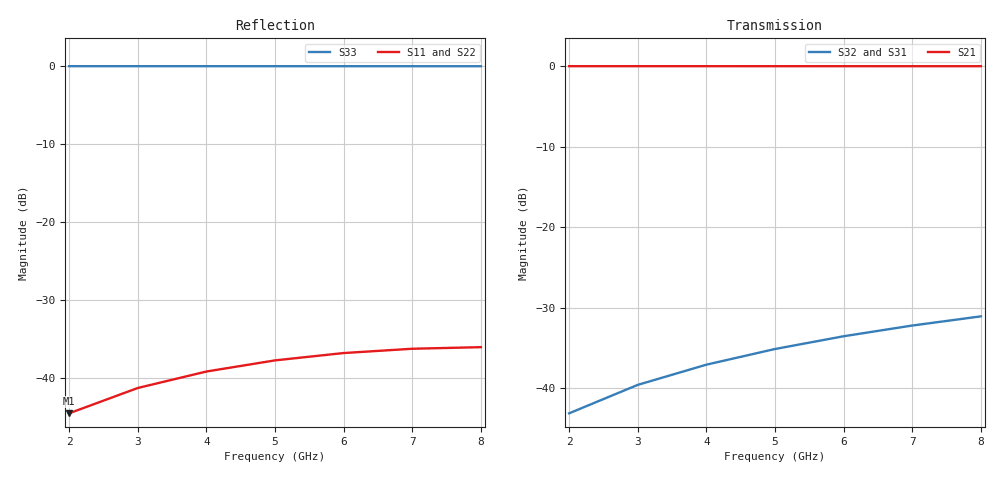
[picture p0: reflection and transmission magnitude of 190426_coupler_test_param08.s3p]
! Sonnet Data File
! From: emgraph Version : 16.56
! From Project: 190426_coupler_test
! Data is De-embedded
! Data File Written: 05/06/2019 15:59:44
!< HDATE 04/25/2019 10:48:44
!< MDATE 04/25/2019 10:59:35
!< PARAMS
!< tandelta = 0.0
!< t_aSi = 0.25
!< W = 10.0
!< Lcoupler = 700.0
!< END PARAMS
# GHZ S MA R 50.0 !  non standard terminations in data
! TERM 50.00000 0.000000 50.00000 0.000000 63.84000 0.000000
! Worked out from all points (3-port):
!   7 points, 2 GHz to 8 GHz, reference 50 ohm
!   strongest paths, dB at 2 GHz, 3 GHz, 5 GHz, 7 GHz, 8 GHz:
!     S21: 0.0, 0.0, 0.0, 0.0, 0.0
!     S32: -43.1, -39.6, -35.1, -32.2, -31.1
!     S31: -43.1, -39.6, -35.2, -32.3, -31.2
!   lowest |S11| = -44.6 dB at 2 GHz (marker M1), VSWR 1.01, Z = 50.2 + j0.541 ohm
!   |S11| at or under -10 dB: start of sweep to end of sweep
2  0.005902 65.8  1 -21.7  0.006978 62.4
   1 -21.7  0.005885 71.3  0.006992 84.7
   0.006978 62.4  0.006992 84.7  1 -11.6
3  0.008582 53.6  0.9999 -32.5  0.01046 48.5
   0.9999 -32.5  0.008529 62.1  0.0105 82.1
   0.01046 48.5  0.0105 82.1  0.9999 -17.4
4  0.01095 41.3  0.9998 -43.3  0.01392 34.7
   0.9998 -43.3  0.01082 52.9  0.01402 79.3
   0.01392 34.7  0.01402 79.3  0.9998 -23.1
5  0.01291 28.8  0.9998 -54.1  0.01737 20.9
   0.9998 -54.1  0.01268 43.8  0.01753 76.5
   0.01737 20.9  0.01753 76.5  0.9997 -28.9
6  0.01439 16.2  0.9997 -65.0  0.02079 7.1
   0.9997 -65.0  0.01402 34.8  0.02104 73.7
   0.02079 7.1  0.02104 73.7  0.9996 -34.7
7  0.01533 3.2  0.9996 -75.8  0.02419 -6.8
   0.9996 -75.8  0.01479 26.1  0.02453 70.8
   0.02419 -6.8  0.02453 70.8  0.9994 -40.5
8  0.01569 -10.2  0.9995 -86.6  0.02756 -20.6
   0.9995 -86.6  0.01495 17.7  0.02797 67.9
   0.02756 -20.6  0.02797 67.9  0.9992 -46.3
